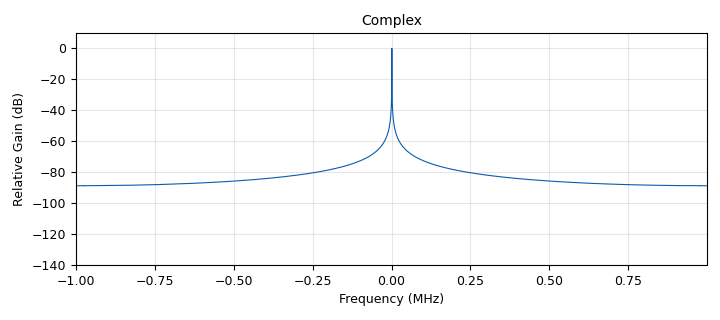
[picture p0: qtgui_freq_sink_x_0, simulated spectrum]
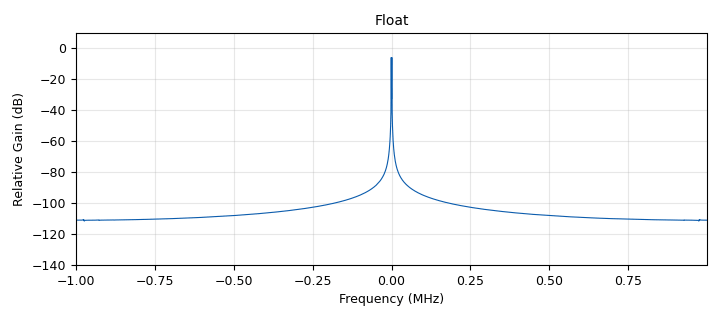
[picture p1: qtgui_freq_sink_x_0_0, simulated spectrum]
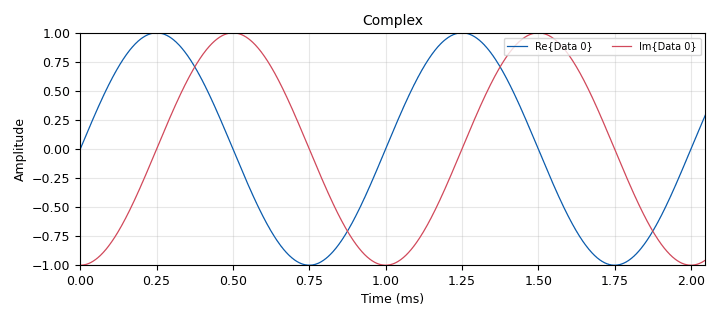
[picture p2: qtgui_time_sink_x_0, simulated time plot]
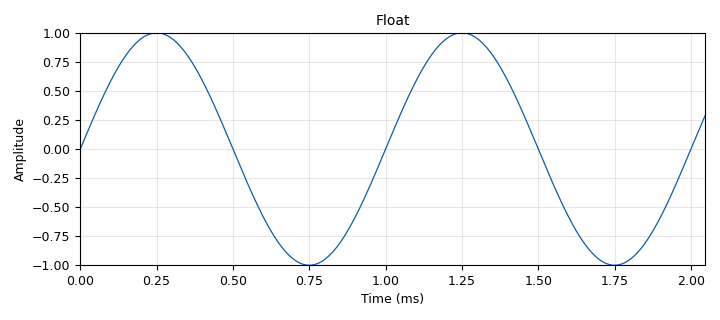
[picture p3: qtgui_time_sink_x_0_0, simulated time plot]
options:
  parameters:
    generate_options: qt_gui
    id: default
    output_language: python
    title: Not titled yet
  states: {}

blocks:
- name: amp
  id: variable_qtgui_range
  parameters:
    start: '0'
    step: '0.001'
    stop: '1'
    value: '1'
  states: {}
- name: freq
  id: variable_qtgui_range
  parameters:
    start: '0'
    step: '1'
    stop: 0.999e6
    value: 1e3
  states: {}
- name: samp_rate
  id: variable
  parameters:
    value: 2e6
  states: {}
- name: analog_sig_source_x_0
  id: analog_sig_source_x
  parameters:
    amp: amp
    freq: freq
    offset: '0'
    phase: '0'
    samp_rate: samp_rate
    type: complex
    waveform: analog.GR_COS_WAVE
  states: {}
- name: analog_sig_source_x_0_0
  id: analog_sig_source_x
  parameters:
    amp: amp
    freq: freq
    offset: '0'
    phase: '0'
    samp_rate: samp_rate
    type: float
    waveform: analog.GR_COS_WAVE
  states: {}
- name: blocks_throttle2_0
  id: blocks_throttle2
  parameters:
    samples_per_second: samp_rate
    type: complex
  states: {}
- name: blocks_throttle2_0_0
  id: blocks_throttle2
  parameters:
    samples_per_second: samp_rate
    type: float
  states: {}
- name: note_0
  id: note
  parameters:
    comment: En este caso, cambiando la ventana y la normalizacion de energia, se puede ver que la potencia de la señal real es la mitad (-6db) eso es porque la amplitud de 1V, se divide entre las señales de frecuencia negativa y positiva, resultando en una amplitud de 0.5V para ambas. En cambio, en la señal compleja, tenemos una sola componente que conserva la energía y por eso su pico en la FFT con ventana rectangular se encuentra a 0db.
    note: Justificación
  states: {}
- name: qtgui_freq_sink_x_0
  id: qtgui_freq_sink_x
  parameters:
    bw: samp_rate
    fc: '0'
    fftsize: '2048'
    name: Complex
    norm_window: 'True'
    type: complex
    wintype: window.WIN_RECTANGULAR
  states: {}
- name: qtgui_freq_sink_x_0_0
  id: qtgui_freq_sink_x
  parameters:
    bw: samp_rate
    fc: '0'
    fftsize: '2048'
    name: Float
    norm_window: 'True'
    type: float
    wintype: window.WIN_RECTANGULAR
  states: {}
- name: qtgui_time_sink_x_0
  id: qtgui_time_sink_x
  parameters:
    name: Complex
    size: '4096'
    srate: samp_rate
    tr_mode: qtgui.TRIG_MODE_AUTO
    type: complex
  states: {}
- name: qtgui_time_sink_x_0_0
  id: qtgui_time_sink_x
  parameters:
    name: Float
    size: '4096'
    srate: samp_rate
    tr_mode: qtgui.TRIG_MODE_AUTO
    type: float
  states: {}

connections:
- [analog_sig_source_x_0, '0', blocks_throttle2_0, '0']
- [analog_sig_source_x_0_0, '0', blocks_throttle2_0_0, '0']
- [blocks_throttle2_0, '0', qtgui_freq_sink_x_0, '0']
- [blocks_throttle2_0, '0', qtgui_time_sink_x_0, '0']
- [blocks_throttle2_0_0, '0', qtgui_freq_sink_x_0_0, '0']
- [blocks_throttle2_0_0, '0', qtgui_time_sink_x_0_0, '0']

metadata:
  file_format: 1
  grc_version: 3.10.12.0
